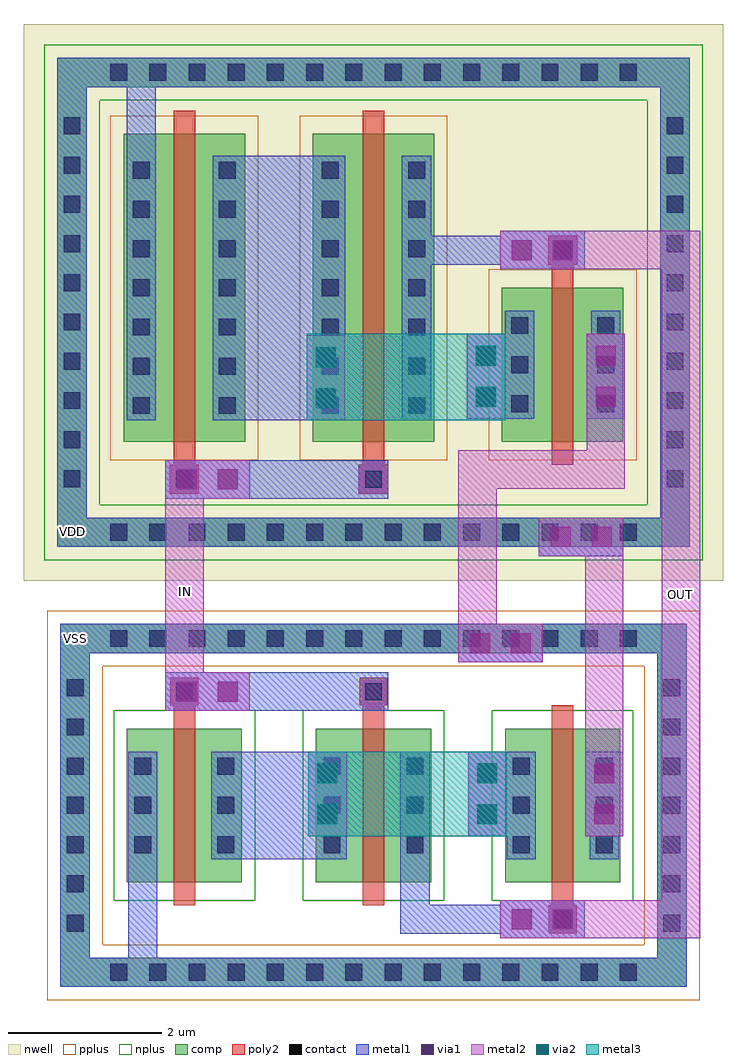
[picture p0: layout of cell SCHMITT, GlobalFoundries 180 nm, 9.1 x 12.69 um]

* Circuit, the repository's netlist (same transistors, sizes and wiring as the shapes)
** sch_path: /foss/designs/libs/qw_core_analog/SCHMITT/SCHMITT.sch
.subckt SCHMITT IN OUT VDD VSS
*.PININFO OUT:B IN:B VDD:B VSS:B
XM1 OUT IN net1 VSS nfet_03v3 L=0.28u W=2u nf=1 m=1
XM2 OUT IN net2 VDD pfet_03v3 L=0.28u W=4u nf=1 m=1
XM3 net2 IN VDD VDD pfet_03v3 L=0.28u W=4u nf=1 m=1
XM4 net1 IN VSS VSS nfet_03v3 L=0.28u W=2u nf=1 m=1
XM5 VSS OUT net2 VDD pfet_03v3 L=0.28u W=2u nf=1 m=1
XM6 VDD OUT net1 VSS nfet_03v3 L=0.28u W=2u nf=1 m=1
.ends

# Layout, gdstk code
import gdstk
lib = gdstk.Library(unit=1e-6, precision=5e-09)
def R(c, l, rs):  # rectangles x0, y0, x1, y1
    for r in rs: c.add(gdstk.rectangle(r[:2], r[2:], *l))
def A(c, l, x, y, w, h, nx, ny, dx, dy):  # array of equal rectangles
    R(c, l, [(x+i*dx, y+j*dy, x+i*dx+w, y+j*dy+h) for i in range(nx) for j in range(ny)])
nwell = (21, 0)
comp = (22, 0)
poly2 = (30, 0)
pplus = (31, 0)
nplus = (32, 0)
contact = (33, 0)
metal1 = (34, 0)
via1 = (35, 0)
metal2 = (36, 0)
via2 = (38, 0)
metal3 = (42, 0)

pfet = lib.new_cell('pfet')
R(pfet, nwell, [(-0.9,-0.44,1.56,4.44)])
R(pfet, comp, [(-0.46,0,0,4), (0,0,0.66,4), (0.66,0,1.12,4)])
R(pfet, poly2, [(0.14,-0.68,0.52,-0.3), (0.19,-0.3,0.47,4.3)])
R(pfet, pplus, [(-0.63,-0.24,1.29,4.24)])
A(pfet, contact, -0.34, 0.36, 0.22, 0.22, 1, 7, 0, 0.51)
A(pfet, contact, 0.78, 0.36, 0.22, 0.22, 1, 7, 0, 0.51)
R(pfet, contact, [(0.22,-0.6,0.44,-0.38)])
R(pfet, metal1, [(0.14,-0.68,0.52,-0.3), (-0.42,0.28,-0.04,3.72), (0.7,0.28,1.08,3.72)])

pfet_3 = lib.new_cell('pfet$3')
R(pfet_3, nwell, [(-0.9,-0.44,1.56,2.44)])
R(pfet_3, comp, [(-0.46,0,0,2), (0,0,0.66,2), (0.66,0,1.12,2)])
R(pfet_3, poly2, [(0.19,-0.3,0.47,2.3), (0.14,2.3,0.52,2.68)])
R(pfet_3, pplus, [(-0.63,-0.24,1.29,2.24)])
A(pfet_3, contact, -0.34, 0.38, 0.22, 0.22, 1, 3, 0, 0.51)
A(pfet_3, contact, 0.78, 0.38, 0.22, 0.22, 1, 3, 0, 0.51)
R(pfet_3, contact, [(0.22,2.38,0.44,2.6)])
R(pfet_3, metal1, [(-0.42,0.3,-0.04,1.7), (0.7,0.3,1.08,1.7), (0.14,2.3,0.52,2.68)])

via_dev_1 = lib.new_cell('via_dev$1')
R(via_dev_1, metal1, [(0,0,1.1,0.5)])
R(via_dev_1, via1, [(0.155,0.12,0.415,0.38), (0.685,0.12,0.945,0.38)])
R(via_dev_1, metal2, [(0,0,1.1,0.5)])

via_dev_3 = lib.new_cell('via_dev$3')
R(via_dev_3, metal1, [(0,0,0.5,1.1)])
R(via_dev_3, via1, [(0.12,0.155,0.38,0.415), (0.12,0.685,0.38,0.945)])
R(via_dev_3, metal2, [(0,0,0.5,1.1)])
R(via_dev_3, via2, [(0.12,0.155,0.38,0.415), (0.12,0.685,0.38,0.945)])
R(via_dev_3, metal3, [(0,0,0.5,1.1)])

via_dev_2 = lib.new_cell('via_dev$2')
R(via_dev_2, metal1, [(0,0,0.5,1.1)])
R(via_dev_2, via1, [(0.12,0.155,0.38,0.415), (0.12,0.685,0.38,0.945)])
R(via_dev_2, metal2, [(0,0,0.5,1.1)])

nfet_1 = lib.new_cell('nfet$1')
R(nfet_1, comp, [(-0.42,0,0,2), (0,0,0.66,2), (0.66,0,1.08,2)])
R(nfet_1, poly2, [(0.19,-0.3,0.47,2.3), (0.15,2.3,0.51,2.66)])
R(nfet_1, nplus, [(-0.59,-0.24,1.25,2.24)])
A(nfet_1, contact, -0.32, 0.38, 0.22, 0.22, 1, 3, 0, 0.51)
A(nfet_1, contact, 0.76, 0.38, 0.22, 0.22, 1, 3, 0, 0.51)
R(nfet_1, contact, [(0.22,2.37,0.44,2.59)])
R(nfet_1, metal1, [(-0.4,0.3,-0.02,1.7), (0.68,0.3,1.06,1.7), (0.14,2.29,0.52,2.67)])

nfet_2 = lib.new_cell('nfet$2')
R(nfet_2, comp, [(-0.42,0,0,2), (0,0,0.66,2), (0.66,0,1.08,2)])
R(nfet_2, poly2, [(0.15,-0.66,0.51,-0.3), (0.19,-0.3,0.47,2.3)])
R(nfet_2, nplus, [(-0.59,-0.24,1.25,2.24)])
A(nfet_2, contact, -0.32, 0.38, 0.22, 0.22, 1, 3, 0, 0.51)
A(nfet_2, contact, 0.76, 0.38, 0.22, 0.22, 1, 3, 0, 0.51)
R(nfet_2, contact, [(0.22,-0.59,0.44,-0.37)])
R(nfet_2, metal1, [(0.14,-0.67,0.52,-0.29), (-0.4,0.3,-0.02,1.7), (0.68,0.3,1.06,1.7)])

schmitt = lib.new_cell('SCHMITT')
R(schmitt, nwell, [(0.14,5.63,9.24,12.87)])
R(schmitt, pplus, [(0.45,0.18,1.17,5.24), (1.17,0.18,8.93,0.9), (8.21,0.9,8.93,4.52), (1.17,4.52,8.93,5.24)])
R(schmitt, nplus, [(0.41,5.9,1.13,12.6), (1.13,5.9,8.97,6.62), (8.25,6.62,8.97,11.88), (1.13,11.88,8.97,12.6)])
A(schmitt, contact, 1.265, 0.43, 0.22, 0.22, 14, 2, 0.51, 4.34)
A(schmitt, contact, 0.7, 1.07, 0.22, 0.22, 1, 7, 0, 0.51)
A(schmitt, contact, 8.46, 1.07, 0.22, 0.22, 1, 7, 0, 0.51)
A(schmitt, contact, 1.265, 6.15, 0.22, 0.22, 14, 2, 0.51, 5.98)
A(schmitt, contact, 0.66, 6.845, 0.22, 0.22, 1, 10, 0, 0.51)
A(schmitt, contact, 8.5, 6.845, 0.22, 0.22, 1, 10, 0, 0.51)
R(schmitt, metal1, [(0.62,0.35,8.38,0.73), (8.38,0.35,8.76,4.69), (0.62,0.73,1,4.69), (1.5,0.73,1.88,2.01), (2.96,2.01,3.96,3.41), (0.62,4.69,8.76,5.07), (0.58,6.07,0.96,12.43), (0.96,6.07,8.8,6.45), (8.42,6.45,8.8,12.43), (2.98,7.72,3.94,11.16), (1.48,11.16,1.86,12.05), (0.96,12.05,8.42,12.43)])
R(schmitt, metal2, [(8.44,1.48,8.94,9.68), (7.44,2.31,7.94,6.45), (1.98,4.44,2.48,6.7)])
R(schmitt, metal3, [(3.84,2.31,5.92,3.41), (3.82,7.72,6.4,8.84)])
schmitt.add(gdstk.FlexPath([(7.71,7.74),(7.71,7.075),(6.04,7.075),(6.04,4.695)], 0.5, ends="flush", simple_path=True, layer=36, datatype=0))  # metal2
schmitt.add(gdstk.FlexPath([(7.435,9.93),(8.94,9.93)], 0.5, ends="flush", simple_path=True, layer=36, datatype=0))  # metal2
schmitt.add(gdstk.FlexPath([(7.435,1.23),(8.94,1.23)], 0.5, ends="flush", simple_path=True, layer=36, datatype=0))  # metal2
schmitt.add(gdstk.FlexPath([(7.15,10.12),(7.15,9.93),(5.06,9.93)], 0.38, ends="flush", simple_path=True, layer=34, datatype=0))  # metal1
schmitt.add(gdstk.FlexPath([(5.23,2.01),(5.23,1.23),(6.96,1.23)], 0.38, ends="flush", simple_path=True, layer=34, datatype=0))  # metal1
schmitt.add(gdstk.FlexPath([(3.08,4.19),(4.88,4.19)], 0.5, ends="flush", simple_path=True, layer=34, datatype=0))  # metal1
schmitt.add(gdstk.FlexPath([(3.08,6.95),(4.88,6.95)], 0.5, ends="flush", simple_path=True, layer=34, datatype=0))  # metal1
schmitt.add(gdstk.FlexPath([(0.62,0.54),(8.76,0.54)], 0.38, ends="flush", simple_path=True, layer=22, datatype=0))  # comp
schmitt.add(gdstk.FlexPath([(8.8,6.26),(0.77,6.26),(0.77,12.17)], 0.38, ends="flush", simple_path=True, layer=22, datatype=0))  # comp
schmitt.add(gdstk.FlexPath([(0.58,12.24),(8.8,12.24)], 0.38, ends="flush", simple_path=True, layer=22, datatype=0))  # comp
schmitt.add(gdstk.FlexPath([(0.81,0.73),(0.81,4.88),(8.76,4.88)], 0.38, ends="flush", simple_path=True, layer=22, datatype=0))  # comp
schmitt.add(gdstk.FlexPath([(8.61,12.05),(8.61,6.45)], 0.38, ends="flush", simple_path=True, layer=22, datatype=0))  # comp
schmitt.add(gdstk.FlexPath([(8.57,4.69),(8.57,0.73)], 0.38, ends="flush", simple_path=True, layer=22, datatype=0))  # comp
schmitt.add(gdstk.Reference(pfet, (1.9,7.44)))
schmitt.add(gdstk.Reference(pfet, (4.36,7.44)))
schmitt.add(gdstk.Reference(pfet_3, (6.82,7.44)))
schmitt.add(gdstk.Reference(via_dev_1, (6.84,5.95)))
schmitt.add(gdstk.Reference(via_dev_1, (1.98,6.7)))
schmitt.add(gdstk.Reference(via_dev_3, (5.9,7.74)))
schmitt.add(gdstk.Reference(via_dev_3, (3.82,7.72)))
schmitt.add(gdstk.Reference(via_dev_1, (6.335,9.68)))
schmitt.add(gdstk.Reference(via_dev_2, (7.46,7.74)))
schmitt.add(gdstk.Reference(nfet_1, (1.9,1.71)))
schmitt.add(gdstk.Reference(via_dev_2, (7.44,2.31)))
schmitt.add(gdstk.Reference(via_dev_1, (6.335,0.98)))
schmitt.add(gdstk.Reference(via_dev_3, (3.84,2.31)))
schmitt.add(gdstk.Reference(via_dev_3, (5.92,2.31)))
schmitt.add(gdstk.Reference(via_dev_1, (1.98,3.94)))
schmitt.add(gdstk.Reference(nfet_1, (4.36,1.71)))
schmitt.add(gdstk.Reference(nfet_2, (6.82,1.71)))
schmitt.add(gdstk.Reference(via_dev_1, (5.79,4.57)))
schmitt.add(gdstk.Label('IN', (2.245,5.49), layer=36, texttype=10))
schmitt.add(gdstk.Label('OUT', (8.685,5.455), layer=36, texttype=10))
schmitt.add(gdstk.Label('VDD', (0.77,6.275), layer=34, texttype=10))
schmitt.add(gdstk.Label('VSS', (0.81,4.88), layer=34, texttype=10))

lib.write_gds('SCHMITT.gds')
